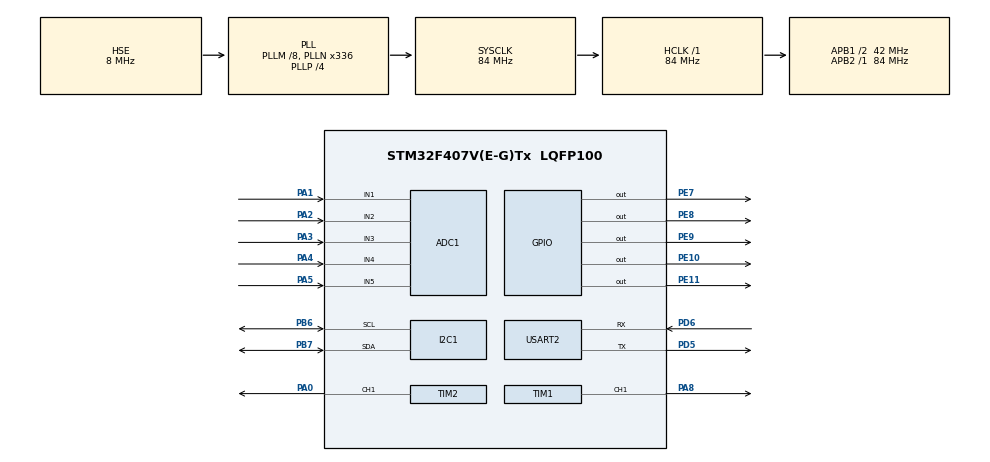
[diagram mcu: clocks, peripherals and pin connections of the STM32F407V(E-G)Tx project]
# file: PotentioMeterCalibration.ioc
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ADC1.Channel-10\#ChannelRegularConversion=ADC_CHANNEL_2
ADC1.Channel-7\#ChannelRegularConversion=ADC_CHANNEL_1
ADC1.Channel-8\#ChannelInjectedConversion=ADC_CHANNEL_2
ADC1.Channel-9\#ChannelInjectedConversion=ADC_CHANNEL_2
ADC1.ContinuousConvMode=ENABLE
ADC1.DMAContinuousRequests=ENABLE
ADC1.EOCSelection=ADC_EOC_SEQ_CONV
ADC1.EnableAnalogWatchDog=true
ADC1.ITMode=ENABLE
ADC1.InjNumberOfConversion=2
ADC1.InjectedOffset-8\#ChannelInjectedConversion=0
ADC1.InjectedOffset-9\#ChannelInjectedConversion=0
ADC1.InjectedRank-8\#ChannelInjectedConversion=1
ADC1.InjectedRank-9\#ChannelInjectedConversion=2
ADC1.NbrOfConversion=2
ADC1.NbrOfConversionFlag=1
ADC1.Rank-10\#ChannelRegularConversion=2
ADC1.Rank-7\#ChannelRegularConversion=1
ADC1.SamplingTime-10\#ChannelRegularConversion=ADC_SAMPLETIME_480CYCLES
ADC1.SamplingTime-7\#ChannelRegularConversion=ADC_SAMPLETIME_480CYCLES
ADC1.SamplingTime-8\#ChannelInjectedConversion=ADC_SAMPLETIME_3CYCLES
ADC1.SamplingTime-9\#ChannelInjectedConversion=ADC_SAMPLETIME_3CYCLES
ADC1.WatchdogChannel=ADC_CHANNEL_1
ADC1.master=1
Dma.ADC1.0.Direction=DMA_PERIPH_TO_MEMORY
Dma.ADC1.0.FIFOMode=DMA_FIFOMODE_DISABLE
Dma.ADC1.0.Instance=DMA2_Stream0
Dma.ADC1.0.MemDataAlignment=DMA_MDATAALIGN_HALFWORD
Dma.ADC1.0.MemInc=DMA_MINC_ENABLE
Dma.ADC1.0.Mode=DMA_CIRCULAR
Dma.ADC1.0.PeriphDataAlignment=DMA_PDATAALIGN_HALFWORD
Dma.ADC1.0.PeriphInc=DMA_PINC_DISABLE
Dma.ADC1.0.Priority=DMA_PRIORITY_LOW
Dma.Request0=ADC1
Mcu.Family=STM32F4
Mcu.Name=STM32F407V(E-G)Tx
Mcu.Package=LQFP100
NVIC.ADC_IRQn=true\:0\:0\:false\:false\:true\:true\:true\:true
NVIC.DMA2_Stream0_IRQn=true\:0\:0\:false\:false\:true\:false\:true\:true
NVIC.PriorityGroup=NVIC_PRIORITYGROUP_0
NVIC.USART2_IRQn=true\:0\:0\:false\:false\:true\:true\:true\:true
PA0-WKUP.Signal=S_TIM2_CH1_ETR
PA1.Signal=ADCx_IN1
PA13.Mode=Serial_Wire
PA13.Signal=SYS_JTMS-SWDIO
PA14.Mode=Serial_Wire
PA14.Signal=SYS_JTCK-SWCLK
PA2.Signal=ADCx_IN2
PA3.Signal=ADCx_IN3
PA4.Signal=ADCx_IN4
PA5.Signal=ADCx_IN5
PA8.Signal=S_TIM1_CH1
PB6.Mode=I2C
PB6.Signal=I2C1_SCL
PB7.Mode=I2C
PB7.Signal=I2C1_SDA
PD5.Mode=Asynchronous
PD5.Signal=USART2_TX
PD6.Mode=Asynchronous
PD6.Signal=USART2_RX
PE10.Signal=GPIO_Output
PE11.Signal=GPIO_Output
PE7.Signal=GPIO_Output
PE8.Signal=GPIO_Output
PE9.Signal=GPIO_Output
PH0-OSC_IN.Mode=HSE-External-Oscillator
PH0-OSC_IN.Signal=RCC_OSC_IN
PH1-OSC_OUT.Mode=HSE-External-Oscillator
PH1-OSC_OUT.Signal=RCC_OSC_OUT
ProjectManager.HeapSize=0x200
ProjectManager.StackSize=0x400
ProjectManager.TargetToolchain=STM32CubeIDE
RCC.48MHZClocksFreq_Value=48000000
RCC.AHBFreq_Value=84000000
RCC.APB1CLKDivider=RCC_HCLK_DIV2
RCC.APB1Freq_Value=42000000
RCC.APB1TimFreq_Value=84000000
RCC.APB2Freq_Value=84000000
RCC.APB2TimFreq_Value=84000000
RCC.CortexFreq_Value=84000000
RCC.HCLKFreq_Value=84000000
RCC.HSE_VALUE=8000000
RCC.HSI_VALUE=16000000
RCC.LSE_VALUE=32768
RCC.PLLM=8
RCC.PLLN=336
RCC.PLLP=RCC_PLLP_DIV4
RCC.PLLQ=7
RCC.PLLSourceVirtual=RCC_PLLSOURCE_HSE
RCC.SYSCLKFreq_VALUE=84000000
RCC.SYSCLKSource=RCC_SYSCLKSOURCE_PLLCLK
RCC.VCOOutputFreq_Value=336000000
SH.ADCx_IN1.0=ADC1_IN1,IN1
SH.ADCx_IN2.0=ADC1_IN2,IN2
SH.ADCx_IN3.0=ADC1_IN3,IN3
SH.ADCx_IN4.0=ADC1_IN4,IN4
SH.ADCx_IN5.0=ADC1_IN5,IN5
SH.S_TIM1_CH1.0=TIM1_CH1,PWM Generation1 CH1
SH.S_TIM2_CH1_ETR.0=TIM2_CH1,PWM Generation1 CH1
TIM1.Channel-PWM\ Generation1\ CH1=TIM_CHANNEL_1
TIM1.Period=199
TIM1.Prescaler=69
TIM2.Channel-PWM\ Generation1\ CH1=TIM_CHANNEL_1
TIM2.Period=199
TIM2.Prescaler=69
USART2.VirtualMode=VM_ASYNC
VP_TIM1_VS_ClockSourceINT.Mode=Internal
VP_TIM2_VS_ClockSourceINT.Mode=Internal
board=STM32F407G-DISC1

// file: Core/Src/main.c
/* USER CODE BEGIN Header */
/**
 ******************************************************************************
 * @file           : main.c
 * @brief          : Main program body
 ******************************************************************************
 * @attention
 *
 * Copyright (c) 2025 STMicroelectronics.
 * All rights reserved.
 *
 * This software is licensed under terms that can be found in the LICENSE file
 * in the root directory of this software component.
 * If no LICENSE file comes with this software, it is provided AS-IS.
 *
 ******************************************************************************
 */
/* USER CODE END Header */
#include "main.h"

/* USER CODE BEGIN Includes */
#include "test.h"

#include <stdio.h>
#include <string.h>
#include "uart_handler.h"
#include <math.h>
#include "i2ccomm.h"
#include "motor_control.h"
#include "test.h"
/* USER CODE END Includes */

ADC_HandleTypeDef hadc1;
DMA_HandleTypeDef hdma_adc1;

I2C_HandleTypeDef hi2c1;

TIM_HandleTypeDef htim1;
TIM_HandleTypeDef htim2;

UART_HandleTypeDef huart2;

/* USER CODE BEGIN PV */
// Application state variable
volatile uint8_t g_test_is_running = 1;
/* USER CODE END PV */

void SystemClock_Config(void);
static void MX_GPIO_Init(void);
static void MX_DMA_Init(void);
static void MX_ADC1_Init(void);
static void MX_TIM2_Init(void);
static void MX_USART2_UART_Init(void);
static void MX_I2C1_Init(void);
static void MX_TIM1_Init(void);

int main(void)
{

  /* MCU Configuration--------------------------------------------------------*/

  /* Reset of all peripherals, Initializes the Flash interface and the Systick. */
  HAL_Init();

  /* Configure the system clock */
  SystemClock_Config();

  /* Initialize all configured peripherals */
  MX_GPIO_Init();
  MX_DMA_Init();
  MX_ADC1_Init();
  MX_TIM2_Init();
  MX_USART2_UART_Init();
  MX_I2C1_Init();
  MX_TIM1_Init();
  /* USER CODE BEGIN 2 */
  int cmd_int = 0 ;

  uart_handler_init(&huart2);
  MotorControl_Init();
  Test_Init();

  /* USER CODE END 2 */

  /* Infinite loop */
	while (1) {

    /* USER CODE BEGIN 3 */
		/* ================================================================
		 * SECTION 1: UART COMMAND HANDLING (PRODUCER–CONSUMER)
		 * ================================================================ */

		if (uart_command_is_ready()) {

			const char *command = (const char*) uart_get_command_buffer();

			printf("DBG_MAIN: Command received: [%s]\r\n", command);
			fflush(stdout);

			if (strcmp(command, "CMD:PERFORM_TEST") == 0) {
				g_test_is_running = 0;
			}
			else if (strcmp(command, "CMD:STOP_TEST") == 0) {
				g_test_is_running = 1;
			} else if (strcmp(command, "CMD:CONFIG1") == 0) {
				g_test_is_running = 2;
			} else if (strcmp(command, "CMD:CONFIG2") == 0) {
				g_test_is_running = 3;
			} else if (strcmp(command, "CMD:CONFIG3") == 0) {
				g_test_is_running = 4;
			} else if (strcmp(command, "CMD:CONFIG4") == 0) {
				g_test_is_running = 5;
			}
			else if (sscanf(command, "CMD:SET_M1 %d", &cmd_int) == 1)
			{
				g_test_is_running = 6;
			}
			else if (sscanf(command, "CMD:SET_M2 %d", &cmd_int) == 1)
			{
				g_test_is_running = 7;
			}
			else
			{
				printf("DBG_MAIN: Unknown command\r\n");
				fflush(stdout);
			}

			uart_reset_for_next_command();
		}

		/* ================================================================
		 * SECTION 2: STATE-BASED ACTION DISPATCH
		 * ================================================================ */
		switch (g_test_is_running) {
		case 0:
			/* Full automated test */
			Stream_Pot_Value(MOTOR_1, ParameterIndex_t param_inde)
			Stream_Pot_Value(Motor_ID_t motor, ParameterIndex_t param_index)
			break;
		case 1:
			Stop_test();
			g_test_is_running = STATE_IDLE;
			break;

		case 2:
			/* Corner 1: MIN / MIN */
			Test_GotoCorner(2);
			HAL_Delay(10);
			break;

		case 3:
			/* Corner 2: MIN / MAX */
			Test_GotoCorner(3);
			HAL_Delay(10);
			break;

		case 4:
			/* Corner 3: MAX / MIN */
			Test_GotoCorner(4);
			HAL_Delay(10);
			break;

		case 5:
			/* Corner 4: MAX / MAX */
			Test_GotoCorner(5);
			HAL_Delay(10);
			break;

		case 6:   // CMD:SET_M1 <0..100>
		{
		    if (cmd_int < 0)   cmd_int = 0;
		    if (cmd_int > 100) cmd_int = 100;
		    MotorCalibration_t *cal = MotorControl_GetCalibration(MOTOR_1);

		    uint16_t targetADC =
		        cal->adc_min +
		        (cmd_int * (cal->adc_max - cal->adc_min)) / 100;

		    MotorControl_MoveToADC(MOTOR_1, targetADC, 10);

		    g_test_is_running = 1;   // return to idle
		    break;
		}

		case 7:   // CMD:SET_M2 <0..100>
		{
		    if (cmd_int < 0)   cmd_int = 0;
		    if (cmd_int > 100) cmd_int = 100;
		    MotorCalibration_t *cal = MotorControl_GetCalibration(MOTOR_2);

		    uint16_t targetADC =
		        cal->adc_min +
		        (cmd_int * (cal->adc_max - cal->adc_min)) / 100;

		    MotorControl_MoveToADC(MOTOR_2, targetADC, 10);

		    g_test_is_running = 1;
		    break;
		}

		default:
			/* Idle */
			break;
		}

	}
  /* USER CODE END 3 */
}

void SystemClock_Config(void)
{
  RCC_OscInitTypeDef RCC_OscInitStruct = {0};
  RCC_ClkInitTypeDef RCC_ClkInitStruct = {0};

  /** Configure the main internal regulator output voltage
  */
  __HAL_RCC_PWR_CLK_ENABLE();
  __HAL_PWR_VOLTAGESCALING_CONFIG(PWR_REGULATOR_VOLTAGE_SCALE1);

  /** Initializes the RCC Oscillators according to the specified parameters
  * in the RCC_OscInitTypeDef structure.
  */
  RCC_OscInitStruct.OscillatorType = RCC_OSCILLATORTYPE_HSE;
  RCC_OscInitStruct.HSEState = RCC_HSE_ON;
  RCC_OscInitStruct.PLL.PLLState = RCC_PLL_ON;
  RCC_OscInitStruct.PLL.PLLSource = RCC_PLLSOURCE_HSE;
  RCC_OscInitStruct.PLL.PLLM = 8;
  RCC_OscInitStruct.PLL.PLLN = 336;
  RCC_OscInitStruct.PLL.PLLP = RCC_PLLP_DIV4;
  RCC_OscInitStruct.PLL.PLLQ = 7;
  if (HAL_RCC_OscConfig(&RCC_OscInitStruct) != HAL_OK)
  {
    Error_Handler();
  }

  /** Initializes the CPU, AHB and APB buses clocks
  */
  RCC_ClkInitStruct.ClockType = RCC_CLOCKTYPE_HCLK|RCC_CLOCKTYPE_SYSCLK
                              |RCC_CLOCKTYPE_PCLK1|RCC_CLOCKTYPE_PCLK2;
  RCC_ClkInitStruct.SYSCLKSource = RCC_SYSCLKSOURCE_PLLCLK;
  RCC_ClkInitStruct.AHBCLKDivider = RCC_SYSCLK_DIV1;
  RCC_ClkInitStruct.APB1CLKDivider = RCC_HCLK_DIV2;
  RCC_ClkInitStruct.APB2CLKDivider = RCC_HCLK_DIV1;

  if (HAL_RCC_ClockConfig(&RCC_ClkInitStruct, FLASH_LATENCY_2) != HAL_OK)
  {
    Error_Handler();
  }
}

static void MX_ADC1_Init(void)
{

  ADC_AnalogWDGConfTypeDef AnalogWDGConfig = {0};
  ADC_ChannelConfTypeDef sConfig = {0};
  ADC_InjectionConfTypeDef sConfigInjected = {0};

  /** Configure the global features of the ADC (Clock, Resolution, Data Alignment and number of conversion)
  */
  hadc1.Instance = ADC1;
  hadc1.Init.ClockPrescaler = ADC_CLOCK_SYNC_PCLK_DIV4;
  hadc1.Init.Resolution = ADC_RESOLUTION_12B;
  hadc1.Init.ScanConvMode = ENABLE;
  hadc1.Init.ContinuousConvMode = ENABLE;
  hadc1.Init.DiscontinuousConvMode = DISABLE;
  hadc1.Init.ExternalTrigConvEdge = ADC_EXTERNALTRIGCONVEDGE_NONE;
  hadc1.Init.ExternalTrigConv = ADC_SOFTWARE_START;
  hadc1.Init.DataAlign = ADC_DATAALIGN_RIGHT;
  hadc1.Init.NbrOfConversion = 2;
  hadc1.Init.DMAContinuousRequests = ENABLE;
  hadc1.Init.EOCSelection = ADC_EOC_SEQ_CONV;
  if (HAL_ADC_Init(&hadc1) != HAL_OK)
  {
    Error_Handler();
  }

  /** Configure the analog watchdog
  */
  AnalogWDGConfig.WatchdogMode = ADC_ANALOGWATCHDOG_SINGLE_REG;
  AnalogWDGConfig.HighThreshold = 0;
  AnalogWDGConfig.LowThreshold = 0;
  AnalogWDGConfig.Channel = ADC_CHANNEL_1;
  AnalogWDGConfig.ITMode = ENABLE;
  if (HAL_ADC_AnalogWDGConfig(&hadc1, &AnalogWDGConfig) != HAL_OK)
  {
    Error_Handler();
  }

  /** Configure for the selected ADC regular channel its corresponding rank in the sequencer and its sample time.
  */
  sConfig.Channel = ADC_CHANNEL_1;
  sConfig.Rank = 1;
  sConfig.SamplingTime = ADC_SAMPLETIME_480CYCLES;
  if (HAL_ADC_ConfigChannel(&hadc1, &sConfig) != HAL_OK)
  {
    Error_Handler();
  }

  /** Configure for the selected ADC regular channel its corresponding rank in the sequencer and its sample time.
  */
  sConfig.Channel = ADC_CHANNEL_2;
  sConfig.Rank = 2;
  if (HAL_ADC_ConfigChannel(&hadc1, &sConfig) != HAL_OK)
  {
    Error_Handler();
  }

  /** Configures for the selected ADC injected channel its corresponding rank in the sequencer and its sample time
  */
  sConfigInjected.InjectedChannel = ADC_CHANNEL_2;
  sConfigInjected.InjectedRank = 1;
  sConfigInjected.InjectedNbrOfConversion = 2;
  sConfigInjected.InjectedSamplingTime = ADC_SAMPLETIME_3CYCLES;
  sConfigInjected.ExternalTrigInjecConvEdge = ADC_EXTERNALTRIGINJECCONVEDGE_NONE;
  sConfigInjected.ExternalTrigInjecConv = ADC_INJECTED_SOFTWARE_START;
  sConfigInjected.AutoInjectedConv = DISABLE;
  sConfigInjected.InjectedDiscontinuousConvMode = DISABLE;
  sConfigInjected.InjectedOffset = 0;
  if (HAL_ADCEx_InjectedConfigChannel(&hadc1, &sConfigInjected) != HAL_OK)
  {
    Error_Handler();
  }

  /** Configures for the selected ADC injected channel its corresponding rank in the sequencer and its sample time
  */
  sConfigInjected.InjectedRank = 2;
  if (HAL_ADCEx_InjectedConfigChannel(&hadc1, &sConfigInjected) != HAL_OK)
  {
    Error_Handler();
  }

}

static void MX_I2C1_Init(void)
{

  hi2c1.Instance = I2C1;
  hi2c1.Init.ClockSpeed = 100000;
  hi2c1.Init.DutyCycle = I2C_DUTYCYCLE_2;
  hi2c1.Init.OwnAddress1 = 0;
  hi2c1.Init.AddressingMode = I2C_ADDRESSINGMODE_7BIT;
  hi2c1.Init.DualAddressMode = I2C_DUALADDRESS_DISABLE;
  hi2c1.Init.OwnAddress2 = 0;
  hi2c1.Init.GeneralCallMode = I2C_GENERALCALL_DISABLE;
  hi2c1.Init.NoStretchMode = I2C_NOSTRETCH_DISABLE;
  if (HAL_I2C_Init(&hi2c1) != HAL_OK)
  {
    Error_Handler();
  }

}

static void MX_TIM1_Init(void)
{

  TIM_ClockConfigTypeDef sClockSourceConfig = {0};
  TIM_MasterConfigTypeDef sMasterConfig = {0};
  TIM_OC_InitTypeDef sConfigOC = {0};
  TIM_BreakDeadTimeConfigTypeDef sBreakDeadTimeConfig = {0};

  htim1.Instance = TIM1;
  htim1.Init.Prescaler = 69;
  htim1.Init.CounterMode = TIM_COUNTERMODE_UP;
  htim1.Init.Period = 199;
  htim1.Init.ClockDivision = TIM_CLOCKDIVISION_DIV1;
  htim1.Init.RepetitionCounter = 0;
  htim1.Init.AutoReloadPreload = TIM_AUTORELOAD_PRELOAD_DISABLE;
  if (HAL_TIM_Base_Init(&htim1) != HAL_OK)
  {
    Error_Handler();
  }
  sClockSourceConfig.ClockSource = TIM_CLOCKSOURCE_INTERNAL;
  if (HAL_TIM_ConfigClockSource(&htim1, &sClockSourceConfig) != HAL_OK)
  {
    Error_Handler();
  }
  if (HAL_TIM_PWM_Init(&htim1) != HAL_OK)
  {
    Error_Handler();
  }
  sMasterConfig.MasterOutputTrigger = TIM_TRGO_RESET;
  sMasterConfig.MasterSlaveMode = TIM_MASTERSLAVEMODE_DISABLE;
  if (HAL_TIMEx_MasterConfigSynchronization(&htim1, &sMasterConfig) != HAL_OK)
  {
    Error_Handler();
  }
  sConfigOC.OCMode = TIM_OCMODE_PWM1;
  sConfigOC.Pulse = 0;
  sConfigOC.OCPolarity = TIM_OCPOLARITY_HIGH;
  sConfigOC.OCNPolarity = TIM_OCNPOLARITY_HIGH;
  sConfigOC.OCFastMode = TIM_OCFAST_DISABLE;
  sConfigOC.OCIdleState = TIM_OCIDLESTATE_RESET;
  sConfigOC.OCNIdleState = TIM_OCNIDLESTATE_RESET;
  if (HAL_TIM_PWM_ConfigChannel(&htim1, &sConfigOC, TIM_CHANNEL_1) != HAL_OK)
  {
    Error_Handler();
  }
  sBreakDeadTimeConfig.OffStateRunMode = TIM_OSSR_DISABLE;
  sBreakDeadTimeConfig.OffStateIDLEMode = TIM_OSSI_DISABLE;
  sBreakDeadTimeConfig.LockLevel = TIM_LOCKLEVEL_OFF;
  sBreakDeadTimeConfig.DeadTime = 0;
  sBreakDeadTimeConfig.BreakState = TIM_BREAK_DISABLE;
  sBreakDeadTimeConfig.BreakPolarity = TIM_BREAKPOLARITY_HIGH;
  sBreakDeadTimeConfig.AutomaticOutput = TIM_AUTOMATICOUTPUT_DISABLE;
  if (HAL_TIMEx_ConfigBreakDeadTime(&htim1, &sBreakDeadTimeConfig) != HAL_OK)
  {
    Error_Handler();
  }
  HAL_TIM_MspPostInit(&htim1);

}

static void MX_TIM2_Init(void)
{

  TIM_ClockConfigTypeDef sClockSourceConfig = {0};
  TIM_MasterConfigTypeDef sMasterConfig = {0};
  TIM_OC_InitTypeDef sConfigOC = {0};

  htim2.Instance = TIM2;
  htim2.Init.Prescaler = 69;
  htim2.Init.CounterMode = TIM_COUNTERMODE_UP;
  htim2.Init.Period = 199;
  htim2.Init.ClockDivision = TIM_CLOCKDIVISION_DIV1;
  htim2.Init.AutoReloadPreload = TIM_AUTORELOAD_PRELOAD_DISABLE;
  if (HAL_TIM_Base_Init(&htim2) != HAL_OK)
  {
    Error_Handler();
  }
  sClockSourceConfig.ClockSource = TIM_CLOCKSOURCE_INTERNAL;
  if (HAL_TIM_ConfigClockSource(&htim2, &sClockSourceConfig) != HAL_OK)
  {
    Error_Handler();
  }
  if (HAL_TIM_PWM_Init(&htim2) != HAL_OK)
  {
    Error_Handler();
  }
  sMasterConfig.MasterOutputTrigger = TIM_TRGO_RESET;
  sMasterConfig.MasterSlaveMode = TIM_MASTERSLAVEMODE_DISABLE;
  if (HAL_TIMEx_MasterConfigSynchronization(&htim2, &sMasterConfig) != HAL_OK)
  {
    Error_Handler();
  }
  sConfigOC.OCMode = TIM_OCMODE_PWM1;
  sConfigOC.Pulse = 0;
  sConfigOC.OCPolarity = TIM_OCPOLARITY_HIGH;
  sConfigOC.OCFastMode = TIM_OCFAST_DISABLE;
  if (HAL_TIM_PWM_ConfigChannel(&htim2, &sConfigOC, TIM_CHANNEL_1) != HAL_OK)
  {
    Error_Handler();
  }
  HAL_TIM_MspPostInit(&htim2);

}

static void MX_USART2_UART_Init(void)
{

  huart2.Instance = USART2;
  huart2.Init.BaudRate = 115200;
  huart2.Init.WordLength = UART_WORDLENGTH_8B;
  huart2.Init.StopBits = UART_STOPBITS_1;
  huart2.Init.Parity = UART_PARITY_NONE;
  huart2.Init.Mode = UART_MODE_TX_RX;
  huart2.Init.HwFlowCtl = UART_HWCONTROL_NONE;
  huart2.Init.OverSampling = UART_OVERSAMPLING_16;
  if (HAL_UART_Init(&huart2) != HAL_OK)
  {
    Error_Handler();
  }

}

static void MX_DMA_Init(void)
{

  /* DMA controller clock enable */
  __HAL_RCC_DMA2_CLK_ENABLE();

  /* DMA interrupt init */
  /* DMA2_Stream0_IRQn interrupt configuration */
  HAL_NVIC_SetPriority(DMA2_Stream0_IRQn, 0, 0);
  HAL_NVIC_EnableIRQ(DMA2_Stream0_IRQn);

}

static void MX_GPIO_Init(void)
{
  GPIO_InitTypeDef GPIO_InitStruct = {0};

  /* GPIO Ports Clock Enable */
  __HAL_RCC_GPIOH_CLK_ENABLE();
  __HAL_RCC_GPIOA_CLK_ENABLE();
  __HAL_RCC_GPIOE_CLK_ENABLE();
  __HAL_RCC_GPIOD_CLK_ENABLE();
  __HAL_RCC_GPIOB_CLK_ENABLE();

  /*Configure GPIO pin Output Level */
  HAL_GPIO_WritePin(GPIOE, GPIO_PIN_7|GPIO_PIN_8|GPIO_PIN_9|GPIO_PIN_10
                          |GPIO_PIN_11, GPIO_PIN_RESET);

  /*Configure GPIO pins : PE7 PE8 PE9 PE10
                           PE11 */
  GPIO_InitStruct.Pin = GPIO_PIN_7|GPIO_PIN_8|GPIO_PIN_9|GPIO_PIN_10
                          |GPIO_PIN_11;
  GPIO_InitStruct.Mode = GPIO_MODE_OUTPUT_PP;
  GPIO_InitStruct.Pull = GPIO_NOPULL;
  GPIO_InitStruct.Speed = GPIO_SPEED_FREQ_LOW;
  HAL_GPIO_Init(GPIOE, &GPIO_InitStruct);

}

void Error_Handler(void)
{
	__disable_irq();
	while (1) {
	}
}
